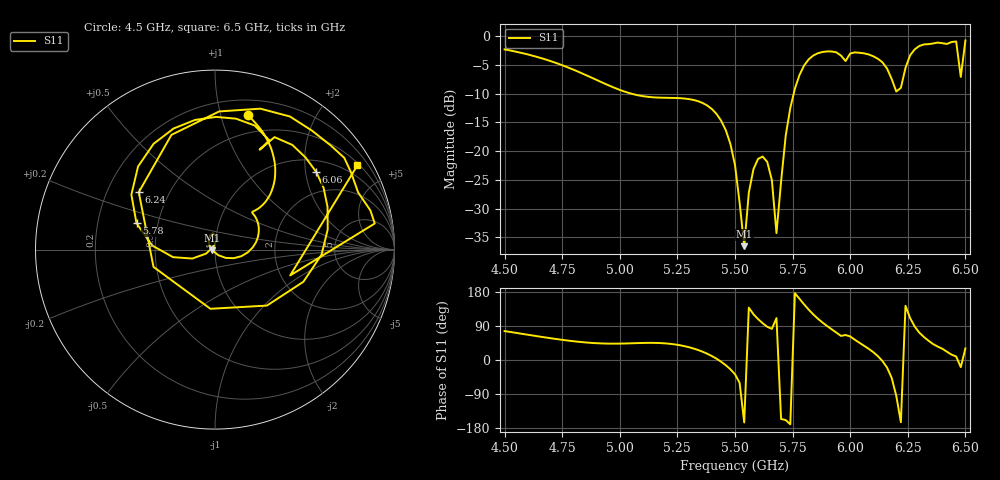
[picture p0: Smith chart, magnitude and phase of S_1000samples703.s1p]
! TOUCHSTONE file generated by CST MICROWAVE STUDIO
! Date and time: Sat Oct 29 02:19:39 2022
! Project name: L.cst
! Parameters = {Di=1.27; Epsilon_r=1.56; InnerDiameter=1.27; Length=2; Lf=10; Lg=60; OuterConductorThickness=0.2921; OuterDiameter=3.6; Wf=3; Wp=41.2; de=1.5; df=6.8; g=0.8; gx=1.68445; gy=3.39135; h=2.34; hf=1.524; px=13.7178; py=10.2374; w=9.7; wx=12.0333; wy=6.84607}
! Header version: 2018
! Port assignment regex: !\s*Touchstone port\s*([0-9]+)\s*=\s*(CST MWS port|CST DS port)\s*([0-9]+|Zmin|Zmax)\s*\(\"(.*)\"\)(\s*mode\s*([0-9]+))?.*
! Touchstone port assignment:
! Touchstone port 1 = CST MWS port 1 ("")
# GHz S DB R 50
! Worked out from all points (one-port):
!   101 points, 4.5 GHz to 6.5 GHz, reference 50 ohm
!   lowest |S11| = -36.6 dB at 5.54 GHz (marker M1), VSWR 1.03, Z = 48.6 - j0.375 ohm
!   |S11| at or under -10 dB: 5.052 GHz to 5.755 GHz (703.1 MHz wide, 13 % of centre)
!   S11 on the Smith chart (normalised r, x): 4.5 GHz: 0.33, +1.22; 5.78 GHz: 0.38, +0.14; 6.06 GHz: 1.31, +2.29; 6.24 GHz: 0.34, +0.30; 6.5 GHz: 0.58, +3.57
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4.5  -2.28 76.3
4.76  -5.18 52.4
5  -9.34 43.3
5.26  -10.77 39.0
5.42  -13.53 3.3
5.5  -22.43 -37.7
5.54  -36.56 -164.9
5.56  -27.24 138.2
5.58  -23.16 120.8
5.62  -20.94 97.0
5.66  -25.05 82.1
5.68  -34.29 110.6
5.72  -17.33 -158.5
5.76  -9.11 176.4
5.78  -6.72 161.5
5.82  -4.00 132.8
5.88  -2.72 98.7
6  -2.99 62.1
6.06  -2.96 37.6
6.14  -4.52 -2.8
6.2  -9.61 -94.5
6.24  -5.49 143.0
6.26  -3.30 110.8
6.3  -1.67 72.2
6.38  -1.08 35.4
6.46  -0.90 9.3
6.48  -7.07 -19.0
6.5  -0.71 30.6
